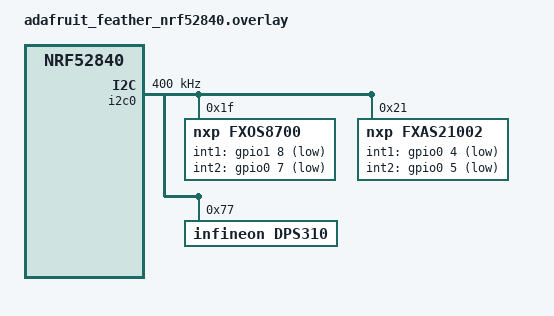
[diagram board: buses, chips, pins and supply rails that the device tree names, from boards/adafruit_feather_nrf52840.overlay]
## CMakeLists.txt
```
cmake_minimum_required(VERSION 3.10)

set(CONF_FILE prj.conf)
find_package(Zephyr REQUIRED HINTS $ENV{ZEPHYR_BASE})

project(z_quad_rotor)

set(CMAKE_EXPORT_COMPILE_COMMANDS ON)

# Include directories
include_directories(app PRIVATE 
    lib/linalg
)

# Application sources
target_sources(app PRIVATE 
    src/dps310.cpp
    src/fusion.cpp
    src/fxas21002.cpp
    src/fxos8700.cpp
    src/main.cpp
)
```

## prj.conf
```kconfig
# C++ and standard lib support
CONFIG_CPLUSPLUS=y
CONFIG_NEWLIB_LIBC=y
CONFIG_LIB_CPLUSPLUS=y

# FPU support (unshared)
CONFIG_FPU=y

# Reroute UART to USB CDC, configure shell & logger over USB
CONFIG_USB=y
CONFIG_USB_DEVICE_STACK=y
CONFIG_USB_DEVICE_PRODUCT="z_quad_rotor"

CONFIG_USB_UART_CONSOLE=y
CONFIG_UART_SHELL_ON_DEV_NAME="CDC_ACM_0"

CONFIG_SHELL=y
CONFIG_SHELL_PROMPT_UART="zqr> "
CONFIG_LOG=y
CONFIG_LOG_PROCESS_THREAD_SLEEP_MS=10

# Main thread params
CONFIG_MAIN_STACK_SIZE=2048

# ADC for vbatt measurements
CONFIG_ADC=y

# Configure sensors..
CONFIG_I2C=y
CONFIG_SENSOR=y

#   FXOS8700
CONFIG_FXOS8700=y
CONFIG_FXOS8700_MODE_HYBRID=y
CONFIG_FXOS8700_TEMP=n
CONFIG_FXOS8700_TRIGGER_OWN_THREAD=y

#   FXAS21002
CONFIG_FXAS21002=y
CONFIG_FXAS21002_DR=2
CONFIG_FXAS21002_RANGE=3
CONFIG_FXAS21002_TRIGGER_OWN_THREAD=y

#   DPS310
CONFIG_DPS310=y
```

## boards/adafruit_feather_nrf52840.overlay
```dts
&i2c0 {
    status = "okay";
    compatible = "nordic,nrf-twi";
    clock-frequency = <I2C_BITRATE_FAST>;

    fxos8700@1f {
        status = "okay";
        compatible = "nxp,fxos8700";
        reg = <0x1f>;
        label = "FXOS8700";
        int1-gpios = <&gpio1 8 GPIO_ACTIVE_LOW>; // D5
        int2-gpios = <&gpio0 7 GPIO_ACTIVE_LOW>; // D6
    };

    fxas21002@21 {
        status = "okay";
        compatible = "nxp,fxas21002";
        reg = <0x21>;
        label = "FXAS21002";
        int1-gpios = <&gpio0 4 GPIO_ACTIVE_LOW>; // A0
        int2-gpios = <&gpio0 5 GPIO_ACTIVE_LOW>; // A1
    };

    dps310@77 {
        status = "okay";
        compatible = "infineon,dps310";
        reg = <0x77>;
        label = "DPS310";
    };
};
```

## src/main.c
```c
/**
 * @file		main.c
 * @author		Andrew Loebs
 * @brief		Main application
 *
 */

#include <zephyr.h>
#include <usb/usb_device.h>
#include <logging/log.h>
#include <drivers/sensor.h>

LOG_MODULE_REGISTER(main, LOG_LEVEL_DBG);

K_SEM_DEFINE(sem_fxos8700_drdy, 0, 1);

static void fxos8700_trig_handler(const struct device *dev, struct sensor_trigger *trigger)
{
    ARG_UNUSED(trigger);

    if (0 != sensor_sample_fetch(dev)) {
        // error
        LOG_ERR("FXOS8700 sensor_sample_fetch() failed.");
        return; // exit without giving semaphore
    }

    k_sem_give(&sem_fxos8700_drdy);
}

void main(void)
{
    // Enable USB for shell backend
    usb_enable(NULL);

    LOG_INF("z_quad_rotor firmware running..");

    struct sensor_value accel[3];
    struct sensor_value mag[3];

    const struct device *fxos8700 = device_get_binding(DT_LABEL(DT_INST(0, nxp_fxos8700)));
    if (NULL == fxos8700) {
        LOG_ERR("unable to bind FXOS8700 device.");
        return;
    }

    struct sensor_value fxos8700_sample_rate = {
		.val1 = 6,
		.val2 = 250000,
	};

    if (0 != sensor_attr_set(fxos8700, SENSOR_CHAN_ALL, SENSOR_ATTR_SAMPLING_FREQUENCY, &fxos8700_sample_rate)) {
        LOG_ERR("unable to set FXOS8700 sample rate.");
        return;
    }

    struct sensor_trigger fxos8700_trig = {
        .type = SENSOR_TRIG_DATA_READY,
        .chan = SENSOR_CHAN_ACCEL_XYZ,
    };

    if (0 != sensor_trigger_set(fxos8700, &fxos8700_trig, fxos8700_trig_handler)) {
        LOG_ERR("unable to set FXOS8700 trigger.");
    }

    // log samples as they are ready
    for (;;) {
        // wait for trigger
        k_sem_take(&sem_fxos8700_drdy, K_FOREVER);

        sensor_channel_get(fxos8700, SENSOR_CHAN_ACCEL_XYZ, accel);
        sensor_channel_get(fxos8700, SENSOR_CHAN_MAGN_XYZ, mag);

        LOG_INF("AX:%3d.%06d AY:%3d.%06d AZ:%3d.%06d", 
            accel[0].val1, accel[0].val2,
            accel[1].val1, accel[1].val2,
            accel[2].val1, accel[2].val2);

        LOG_INF("MX:%3d.%06d MY:%3d.%06d MZ:%3d.%06d", 
            mag[0].val1, mag[0].val2,
            mag[1].val1, mag[1].val2,
            mag[2].val1, mag[2].val2);
    }
}
```

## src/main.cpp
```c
/**
 * @file	main.cpp
 * @author	Andrew Loebs
 * @brief	Main application
 *
 */

#include <cmath>
#include <cstdlib>

#include <device.h>
#include <drivers/adc.h>   // TODO: Delete -- for testing
#include <hal/nrf_saadc.h> // TODO: Delete -- for testing
#include <logging/log.h>
#include <usb/usb_device.h>
#include <zephyr.h>

#include "altitude.hpp"
#include "dps310.hpp"
#include "fxas21002.hpp"
#include "fxos8700.hpp"
#include "marg_sensor.hpp"
#include "orientation.hpp"
#include "pressure_sensor.hpp"

using namespace z_quad_rotor;

LOG_MODULE_REGISTER(main, LOG_LEVEL_DBG);

// constants
static constexpr size_t DPS310_SAMPLING_STACK_SIZE = 1024;
static constexpr int DPS310_SAMPLING_THREAD_PRIO = 10;

// static objects
static MargSensor marg_sensor;
static PressureSensor pressure_sensor;

static const RotationMatrix remap({1.0f, 0.0f, 0.0f}, // Identity matrix (TODO: create actual remap)
                                  {0.0f, 1.0f, 0.0f}, // -
                                  {0.0f, 0.0f, 1.0f});
static Orientation<MadgwickFusion6> orientation(remap);
static Altitude altitude;

// threads
static k_thread dps310_sampling_thread;
K_THREAD_STACK_DEFINE(dps310_sampling_stack, DPS310_SAMPLING_STACK_SIZE);

// TODO: delete -- for testing
// timer to initiate orientation updates
K_TIMER_DEFINE(orientation_update_timer, NULL, NULL);
static const uint32_t FUSION_UPDATE_RATE = 10; // ms

// TODO: delete -- for testing
static struct sensor_value float_to_sensor_value(float f)
{
    return {(int)f, (int)((f - floorf(f)) * 1000000)};
}

// dps310 sampling thread
void dps310_sampling_thread_func(void *p1, void *p2, void *p3)
{
    ARG_UNUSED(p1);
    ARG_UNUSED(p2);
    ARG_UNUSED(p3);

    for (;;) {
        // sample at max rate (limited by conversion time)
        dps310::read_pressure(&pressure_sensor);
    }
}

static const struct adc_channel_cfg ccfg = {
    .gain = ADC_GAIN_2,
    .reference = ADC_REF_INTERNAL,
    .acquisition_time = ADC_ACQ_TIME_DEFAULT,
    .channel_id = 0,
    .input_positive = NRF_SAADC_INPUT_AIN5,
};
static int16_t raw;
static const struct adc_sequence seq = {
    .channels = BIT(0),
    .buffer = &raw,
    .buffer_size = sizeof(raw),
    .resolution = 14,
    .oversampling = 4,
    .calibrate = true,
};

// main thread
void main(void)
{
    // enable USB for shell backend
    usb_enable(NULL);

    // setup adc
    const struct device *adc = device_get_binding(DT_LABEL(DT_INST(0, nordic_nrf_saadc)));
    if (!adc) {
        LOG_ERR("ADC binding failed.");
    }
    else {
        int temp = adc_channel_setup(adc, &ccfg);
        if (temp) {
            LOG_ERR("ADC channel setup error: %d", temp);
        }
    }

    // setup sensors
    int err = fxos8700::setup(DT_LABEL(DT_INST(0, nxp_fxos8700)), &marg_sensor);
    if (!err) {
        err = fxas21002::setup(DT_LABEL(DT_INST(0, nxp_fxas21002)), &marg_sensor);
    }
    if (!err) {
        err = dps310::setup(DT_LABEL(DT_INST(0, infineon_dps310)));
    }

    // startup threads
    if (!err) {
        k_tid_t dps310_sampling_tid = k_thread_create(
            &dps310_sampling_thread, dps310_sampling_stack,
            K_THREAD_STACK_SIZEOF(dps310_sampling_stack), dps310_sampling_thread_func, NULL, NULL,
            NULL, DPS310_SAMPLING_THREAD_PRIO, 0, K_NO_WAIT);
        err = k_thread_name_set(dps310_sampling_tid, "dps310 sampling");
        if (err) {
            LOG_ERR("Failed to set dps310 sampling thread name.");
        }
    }

    uint32_t count = 0;
    // start timer and perform fusion updates on sync
    k_timer_start(&orientation_update_timer, K_MSEC(FUSION_UPDATE_RATE),
                  K_MSEC(FUSION_UPDATE_RATE));
    for (;;) {
        k_timer_status_sync(&orientation_update_timer);
        // update orientation
        MargData marg_data = marg_sensor.get_marg();
        orientation.update(marg_data, FUSION_UPDATE_RATE);
        // update altitude
        struct sensor_value pressure = pressure_sensor.get_pressure();
        altitude.update(pressure);
        // use count to log values every 1 second
        if (100 == count) {
            // LOG_INF("AX:%3d.%06d AY:%3d.%06d AZ:%3d.%06d", marg_data.accel[0].val1,
            //         abs(marg_data.accel[0].val2), marg_data.accel[1].val1,
            //         abs(marg_data.accel[1].val2), marg_data.accel[2].val1,
            //         abs(marg_data.accel[2].val2));

            // LOG_INF("GX:%3d.%06d GY:%3d.%06d GZ:%3d.%06d", marg_data.gyro[0].val1,
            //         abs(marg_data.gyro[0].val2), marg_data.gyro[1].val1,
            //         abs(marg_data.gyro[1].val2), marg_data.gyro[2].val1,
            //         abs(marg_data.gyro[2].val2));

            // LOG_INF("MX:%3d.%06d MY:%3d.%06d MZ:%3d.%06d", marg_data.magn[0].val1,
            //         abs(marg_data.magn[0].val2), marg_data.magn[1].val1,
            //         abs(marg_data.magn[1].val2), marg_data.magn[2].val1,
            //         abs(marg_data.magn[2].val2));
            // EulerAngle euler_angle = orientation.get_euler_angle() * RAD_TO_DEG;
            // struct sensor_value roll = float_to_sensor_value(euler_angle.x);
            // struct sensor_value pitch = float_to_sensor_value(euler_angle.y);
            // struct sensor_value yaw = float_to_sensor_value(euler_angle.z);
            // LOG_INF("Roll:%3d.%06d Pitch:%3d.%06d Yaw:%3d.%06d", roll.val1, abs(roll.val2),
            //         pitch.val1, abs(pitch.val2), yaw.val1, abs(yaw.val2));

            // float height_f = altitude.get_altitude();
            // struct sensor_value height = float_to_sensor_value(height_f);
            // LOG_INF("Altitude:%3d.%06d", height.val1, height.val2);

            if (adc) {
                err = adc_read(adc, &seq);
                if (err) {
                    LOG_ERR("Error reading ADC: %d", err);
                }
                else {
                    int32_t val = raw;
                    err = adc_raw_to_millivolts(adc_ref_internal(adc), ccfg.gain, seq.resolution,
                                                &val);
                    if (err) {
                        LOG_ERR("Error converting ADC measurement: %d", err);
                    }
                    else {
                        LOG_INF("V Batt: %d", val);
                    }
                }
            }

            count = 0; // reset
        }
        count++;
    }
}
```

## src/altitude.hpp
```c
/**
 * @file		altitude.hpp
 * @author	Andrew Loebs
 * @brief		Header-only altitude calculation module
 *
 */

#ifndef __ALTITUDE_H
#define __ALTITUDE_H

#include <cmath>

#include <drivers/sensor.h>
#include <zephyr.h>

#include "synced_var.hpp"

namespace z_quad_rotor {

/// Stores altitude; updates based on raw pressure inputs
class Altitude {
  public:
    Altitude() : m_altitude(0.0f) {}
    /// Updates altitude based on new raw pressure
    void update(struct sensor_value pressure)
    {
        float new_alt =
            44330.0f * (1.0f - powf(sensor_value_to_double(&pressure) / 101.325f, 0.1902949f));
        WriteLock<float> write_access = m_altitude.get_write_lock();
        // if this is the first update, initialize altitude member
        if (m_init) {
            write_access.set_var(new_alt);
            m_init = false;
        }
        else {
            write_access.set_var((new_alt * SMOOTHING_RATIO) +
                                 ((1 - SMOOTHING_RATIO) * write_access.get_var()));
        }
    }
    /// Returns the current altitude in meters
    /// @note Will block until alt mutex is available (locked by update)
    float get_altitude() { return m_altitude.get_read_lock().get_var(); }

  private:
    bool m_init = true;
    SyncedVar<float> m_altitude;

    constexpr static float SMOOTHING_RATIO = 0.03f;
};

} // namespace z_quad_rotor

#endif // __ALTITUDE_H
```

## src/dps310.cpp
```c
/**
 * @file	dps310.cpp
 * @author	Andrew Loebs
 * @brief	Source file of the dps310 module
 *
 */

#include "dps310.hpp"

#include <device.h>
#include <drivers/sensor.h>
#include <logging/log.h>

using namespace z_quad_rotor;

LOG_MODULE_REGISTER(dps310, LOG_LEVEL_DBG);

// private variables
static const struct device *s_dev;

// public function definitions
int dps310::setup(const char *dev_name)
{
    int err = 0;
    // input validation
    if (dev_name == nullptr) {
        LOG_ERR("DPS310 nullptr error at line: %d.", __LINE__);
        err = EINVAL;
    }
    // get device from name
    if (!err) {
        s_dev = device_get_binding(dev_name);
        if (!s_dev) {
            LOG_ERR("DPS310 binding failed.");
            err = ENXIO;
        }
    }

    return err;
}

int dps310::read_pressure(PressureSensor *output)
{
    int err = 0;
    // input validation
    if (output == nullptr) {
        LOG_ERR("DPS310 nullptr error at line: %d.", __LINE__);
        err = EINVAL;
    }
    // fetch & store data
    if (!err) {
        err = sensor_sample_fetch(s_dev);
        if (!err) {
            WriteLock<struct sensor_value> write_access = output->get_write_lock();
            err = sensor_channel_get(s_dev, SENSOR_CHAN_PRESS, &write_access.get_ref());
        }
    }

    if (err) {
        LOG_ERR("Error reading pressure sensor: %d", err);
    }
    return err;
}
```

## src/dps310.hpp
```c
/**
 * @file	dps310.hpp
 * @author	Andrew Loebs
 * @brief	Header file of the dps310 module
 *
 * Thin wrapper around zephyr's dps310 driver
 *
 *
 */

#ifndef __DPS310_H
#define __DPS310_H

#include "pressure_sensor.hpp"

namespace z_quad_rotor {

namespace dps310 {

/// Initializes the sensor
int setup(const char *dev_name);

/// Reads pressure data and writes to output
/// @note Blocking call -- will yield thread while waiting on conversion & i2c transaction
int read_pressure(PressureSensor *output);

} // namespace dps310

} // namespace z_quad_rotor

#endif // __DPS310_H
```

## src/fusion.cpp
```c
/**
 * @file	fusion.cpp
 * @author	Andrew Loebs
 * @brief	Source file of the fusion module
 *
 *
 */

#include "fusion.hpp"

#include <math.h>
#include <stdlib.h>

#include "linalg.h"

using namespace z_quad_rotor;

// constants
constexpr float BETA = 0.041f;

// private function declarations
static bool try_normalize(linalg::vec<float, 3> &vec3);

// private function definitions
static bool try_normalize(linalg::vec<float, 3> &vec3)
{
    // find magnitude
    float length = linalg::length(vec3);
    // fail on nan
    if (0.0f == length) return false;
    // valid normalization -- perform op and return success
    float norm = 1.0f / length;
    vec3 *= norm;
    return true;
}

// fusion implementations
void MadgwickFusion6::update(MargDataFloat marg_data, Quaternion &quat, uint32_t time_diff_ms) const
{
    // rate of change of quaternion from gyroscope
    Quaternion q_dot(
        quat.w * marg_data.gyro.x + quat.y * marg_data.gyro.z - quat.z * marg_data.gyro.y,
        quat.w * marg_data.gyro.y - quat.x * marg_data.gyro.z + quat.z * marg_data.gyro.x,
        quat.w * marg_data.gyro.z + quat.x * marg_data.gyro.y - quat.y * marg_data.gyro.x,
        -quat.x * marg_data.gyro.x - quat.y * marg_data.gyro.y - quat.z * marg_data.gyro.z);
    q_dot *= 0.5f;

    // normalize accel
    if (!try_normalize(marg_data.accel)) return; // skip iteration if nan occurs

    // pre-compute repeated operands
    float qw_2 = 2.0f * quat.w;
    float qx_2 = 2.0f * quat.x;
    float qy_2 = 2.0f * quat.y;
    float qz_2 = 2.0f * quat.z;
    float qw_4 = 4.0f * quat.w;
    float qx_4 = 4.0f * quat.x;
    float qy_4 = 4.0f * quat.y;
    float qx_8 = 8.0f * quat.x;
    float qy_8 = 8.0f * quat.y;
    float qw_qw = quat.w * quat.w;
    float qx_qx = quat.x * quat.x;
    float qy_qy = quat.y * quat.y;
    float qz_qz = quat.z * quat.z;

    // gradient decent algorithm corrective step
    Quaternion step(
        qx_4 * qz_qz - qz_2 * marg_data.accel.x + 4.0f * qw_qw * quat.x - qw_2 * marg_data.accel.y -
            qx_4 + qx_8 * qx_qx + qx_8 * qy_qy + qx_4 * marg_data.accel.z,
        4.0f * qw_qw * quat.y + qw_2 * marg_data.accel.x + qy_4 * qz_qz - qz_2 * marg_data.accel.y -
            qy_4 + qy_8 * qx_qx + qy_8 * qy_qy + qy_4 * marg_data.accel.z,
        4.0f * qx_qx * quat.z - qx_2 * marg_data.accel.x + 4.0f * qy_qy * quat.z -
            qy_2 * marg_data.accel.y,
        qw_4 * qy_qy + qy_2 * marg_data.accel.x + qw_4 * qx_qx - qx_2 * marg_data.accel.y);
    // normalize
    float norm = 1.0f / linalg::length(step);
    step *= norm;

    // apply feedback step
    q_dot -= BETA * step;
    // integrate rate of change of quaternion to yield quaternion
    quat += q_dot * (time_diff_ms * 0.001f);
    // normalize
    norm = 1.0f / linalg::length(quat);
    quat *= norm;
}

void MadgwickFusion9::update(MargDataFloat marg_data, Quaternion &quat, uint32_t time_diff_ms) const
{
    // rate of change of quaternion from gyroscope
    Quaternion q_dot(
        quat.w * marg_data.gyro.x + quat.y * marg_data.gyro.z - quat.z * marg_data.gyro.y,
        quat.w * marg_data.gyro.y - quat.x * marg_data.gyro.z + quat.z * marg_data.gyro.x,
        quat.w * marg_data.gyro.z + quat.x * marg_data.gyro.y - quat.y * marg_data.gyro.x,
        -quat.x * marg_data.gyro.x - quat.y * marg_data.gyro.y - quat.z * marg_data.gyro.z);
    q_dot *= 0.5f;

    // normalize accel and mag
    if (!try_normalize(marg_data.accel)) return; // skip iteration if nan occurs
    if (!try_normalize(marg_data.magn)) return;  // skip iteration if nan occurs

    // pre-compute repeated operands
    float qw_mx_2 = 2.0f * quat.w * marg_data.magn.x;
    float qw_my_2 = 2.0f * quat.w * marg_data.magn.y;
    float qw_mz_2 = 2.0f * quat.w * marg_data.magn.z;
    float qx_mx_2 = 2.0f * quat.x * marg_data.magn.x;
    float qw_2 = 2.0f * quat.w;
    float qx_2 = 2.0f * quat.x;
    float qy_2 = 2.0f * quat.y;
    float qz_2 = 2.0f * quat.z;
    float qw_qy_2 = 2.0f * quat.w * quat.y;
    float qy_qz_2 = 2.0f * quat.y * quat.z;
    float qw_qw = quat.w * quat.w;
    float qw_qx = quat.w * quat.x;
    float qw_qy = quat.w * quat.y;
    float qw_qz = quat.w * quat.z;
    float qx_qx = quat.x * quat.x;
    float qx_qy = quat.x * quat.y;
    float qx_qz = quat.x * quat.z;
    float qy_qy = quat.y * quat.y;
    float qy_qz = quat.y * quat.z;
    float qz_qz = quat.z * quat.z;

    // reference direction of Earth's magnetic field
    float hx = marg_data.magn.x * qw_qw - qw_my_2 * quat.z + qw_mz_2 * quat.y +
               marg_data.magn.x * qx_qx + qx_2 * marg_data.magn.y * quat.y +
               qx_2 * marg_data.magn.z * quat.z - marg_data.magn.x * qy_qy -
               marg_data.magn.x * qz_qz;
    float hy = qw_mx_2 * quat.z + marg_data.magn.y * qw_qw - qw_mz_2 * quat.x + qx_mx_2 * quat.y -
               marg_data.magn.y * qx_qx + marg_data.magn.y * qy_qy +
               qy_2 * marg_data.magn.z * quat.z - marg_data.magn.y * qz_qz;
    float bx_2 = sqrt(hx * hx + hy * hy);
    float bz_2 = -qw_mx_2 * quat.y + qw_my_2 * quat.x + marg_data.magn.z * qw_qw +
                 qx_mx_2 * quat.z - marg_data.magn.z * qx_qx + qy_2 * marg_data.magn.y * quat.z -
                 marg_data.magn.z * qy_qy + marg_data.magn.z * qz_qz;
    float bx_4 = 2.0f * bx_2;
    float bz_4 = 2.0f * bz_2;

    // gradient decent algorithm corrective step
    float sw =
        -qy_2 * (2.0f * qx_qz - qw_qy_2 - marg_data.accel.x) +
        qx_2 * (2.0f * qw_qx + qy_qz_2 - marg_data.accel.y) -
        bz_2 * quat.y *
            (bx_2 * (0.5f - qy_qy - qz_qz) + bz_2 * (qx_qz - qw_qy) - marg_data.magn.x) +
        (-bx_2 * quat.z + bz_2 * quat.x) *
            (bx_2 * (qx_qy - qw_qz) + bz_2 * (qw_qx + qy_qz) - marg_data.magn.y) +
        bx_2 * quat.y * (bx_2 * (qw_qy + qx_qz) + bz_2 * (0.5f - qx_qx - qy_qy) - marg_data.magn.z);
    float sx = qz_2 * (2.0f * qx_qz - qw_qy_2 - marg_data.accel.x) +
               qw_2 * (2.0f * qw_qx + qy_qz_2 - marg_data.accel.y) -
               4.0f * quat.x * (1 - 2.0f * qx_qx - 2.0f * qy_qy - marg_data.accel.z) +
               bz_2 * quat.z *
                   (bx_2 * (0.5f - qy_qy - qz_qz) + bz_2 * (qx_qz - qw_qy) - marg_data.magn.x) +
               (bx_2 * quat.y + bz_2 * quat.w) *
                   (bx_2 * (qx_qy - qw_qz) + bz_2 * (qw_qx + qy_qz) - marg_data.magn.y) +
               (bx_2 * quat.z - bz_4 * quat.x) *
                   (bx_2 * (qw_qy + qx_qz) + bz_2 * (0.5f - qx_qx - qy_qy) - marg_data.magn.z);
    float sy = -qw_2 * (2.0f * qx_qz - qw_qy_2 - marg_data.accel.x) +
               qz_2 * (2.0f * qw_qx + qy_qz_2 - marg_data.accel.y) -
               4.0f * quat.y * (1 - 2.0f * qx_qx - 2.0f * qy_qy - marg_data.accel.z) +
               (-bx_4 * quat.y - bz_2 * quat.w) *
                   (bx_2 * (0.5f - qy_qy - qz_qz) + bz_2 * (qx_qz - qw_qy) - marg_data.magn.x) +
               (bx_2 * quat.x + bz_2 * quat.z) *
                   (bx_2 * (qx_qy - qw_qz) + bz_2 * (qw_qx + qy_qz) - marg_data.magn.y) +
               (bx_2 * quat.w - bz_4 * quat.y) *
                   (bx_2 * (qw_qy + qx_qz) + bz_2 * (0.5f - qx_qx - qy_qy) - marg_data.magn.z);
    float sz =
        qx_2 * (2.0f * qx_qz - qw_qy_2 - marg_data.accel.x) +
        qy_2 * (2.0f * qw_qx + qy_qz_2 - marg_data.accel.y) +
        (-bx_4 * quat.z + bz_2 * quat.x) *
            (bx_2 * (0.5f - qy_qy - qz_qz) + bz_2 * (qx_qz - qw_qy) - marg_data.magn.x) +
        (-bx_2 * quat.w + bz_2 * quat.y) *
            (bx_2 * (qx_qy - qw_qz) + bz_2 * (qw_qx + qy_qz) - marg_data.magn.y) +
        bx_2 * quat.x * (bx_2 * (qw_qy + qx_qz) + bz_2 * (0.5f - qx_qx - qy_qy) - marg_data.magn.z);
    // normalize
    Quaternion step(sx, sy, sz, sw);
    float norm = 1.0f / linalg::length(step);
    step *= norm;

    // apply feedback step
    q_dot -= BETA * step;
    // integrate rate of change of quaternion to yield quaternion
    quat += q_dot * (time_diff_ms * 0.001f);
    // normalize
    norm = 1.0f / linalg::length(quat);
    quat *= norm;
}
```

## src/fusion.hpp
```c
/**
 * @file	fusion.hpp
 * @author	Andrew Loebs
 * @brief	Header file of the fusion module
 *
 * CRTP polymorphic classes for MARG/IMU sensor fusion algorithms
 *
 *
 */

#ifndef __FUSION_H
#define __FUSION_H

#include <cstdint>

#include "marg_sensor.hpp"
#include "orientation_defs.hpp"

namespace z_quad_rotor {

template <class T>
struct FusionImpl {
    void update(MargDataFloat marg_data, Quaternion &quat, uint32_t time_diff_ms) const
    {
        static_cast<const T *>(this)->update(marg_data, quat, time_diff_ms);
    }
};

struct MadgwickFusion6 : FusionImpl<MadgwickFusion6> {
    void update(MargDataFloat marg_data, Quaternion &quat, uint32_t time_diff_ms) const;
};

struct MadgwickFusion9 : FusionImpl<MadgwickFusion9> {
    void update(MargDataFloat marg_data, Quaternion &quat, uint32_t time_diff_ms) const;
};

} // namespace z_quad_rotor

#endif // __FUSION_H
```

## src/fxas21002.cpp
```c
/**
 * @file	fxas21002.cpp
 * @author	Andrew Loebs
 * @brief	Source file of the fxas21002 module
 *
 */

#include "fxas21002.hpp"

#include <device.h>
#include <drivers/sensor.h>
#include <logging/log.h>

using namespace z_quad_rotor;

LOG_MODULE_REGISTER(fxas21002, LOG_LEVEL_DBG);

// private variables
static MargSensor *s_output_sink;

// private function definitions
static void trig_handler(const struct device *dev, struct sensor_trigger *trigger)
{
    ARG_UNUSED(trigger);

    // fetch data
    int err = sensor_sample_fetch(dev);
    // store
    WriteLock<MargData> write_lock = s_output_sink->get_write_lock();
    if (!err) {
        err = sensor_channel_get(dev, SENSOR_CHAN_GYRO_XYZ, write_lock.get_ref().gyro);
    }

    // log errors
    if (err) {
        LOG_ERR("FXAS21002 trigger handler err: %d.", err);
    }
}

// public function definitions
int fxas21002::setup(const char *dev_name, MargSensor *output_sink)
{
    int err = 0;
    // input validation
    if (dev_name == nullptr || output_sink == nullptr) {
        LOG_ERR("FXAS21002 nullptr error at line: %d.", __LINE__);
        err = EINVAL;
    }
    // get device from name
    const struct device *dev;
    if (!err) {
        dev = device_get_binding(dev_name);
        if (!dev) {
            LOG_ERR("FXAS21002 binding failed.");
            err = ENXIO;
        }
    }
    if (!err) {
        struct sensor_trigger trig = {
            .type = SENSOR_TRIG_DATA_READY,
            .chan = SENSOR_CHAN_GYRO_XYZ,
        };
        err = sensor_trigger_set(dev, &trig, trig_handler);
        if (err) {
            LOG_ERR("Unable to set FXAS21002 trigger; err: %d.", err);
        }
    }

    s_output_sink = output_sink;
    return err;
}
```

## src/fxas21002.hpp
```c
/**
 * @file	fxas21002.hpp
 * @author	Andrew Loebs
 * @brief	Header file of the fxas21002 module
 *
 * Thin wrapper around zephyr's fxas21002 driver
 *
 *
 */

#ifndef __FXAS21002_H
#define __FXAS21002_H

#include "marg_sensor.hpp"

namespace z_quad_rotor {

namespace fxas21002 {

/// Initializes the sensor; samples will be fetched on data ready interrupt and data will be written
/// to output sink.
int setup(const char *dev_name, MargSensor *output_sink);

} // namespace fxas21002

} // namespace z_quad_rotor

#endif // __FXAS21002_H
```

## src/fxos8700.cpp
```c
/**
 * @file	fxos8700.cpp
 * @author	Andrew Loebs
 * @brief	Source file of the fxos8700 module
 *
 */

#include "fxos8700.hpp"

#include <device.h>
#include <drivers/sensor.h>
#include <logging/log.h>

using namespace z_quad_rotor;

LOG_MODULE_REGISTER(fxos8700, LOG_LEVEL_DBG);

// constants
static const struct sensor_value data_rate = {.val1 = 200, .val2 = 0}; // Hz

// private variables
static MargSensor *s_output_sink;

// private function definitions
static void trig_handler(const struct device *dev, struct sensor_trigger *trigger)
{
    ARG_UNUSED(trigger);

    // fetch data
    int err = sensor_sample_fetch(dev);
    // store
    WriteLock<MargData> write_lock = s_output_sink->get_write_lock();
    if (!err) {
        err = sensor_channel_get(dev, SENSOR_CHAN_ACCEL_XYZ, write_lock.get_ref().accel);
    }
    if (!err) {
        err = sensor_channel_get(dev, SENSOR_CHAN_MAGN_XYZ, write_lock.get_ref().magn);
    }

    // log errors
    if (err) {
        LOG_ERR("FXOS8700 trigger handler err: %d.", err);
    }
}

// public function definitions
int fxos8700::setup(const char *dev_name, MargSensor *output_sink)
{
    int err = 0;
    // input validation
    if (dev_name == nullptr || output_sink == nullptr) {
        LOG_ERR("FXOS8700 nullptr error at line: %d.", __LINE__);
        err = EINVAL;
    }
    // get device from name
    const struct device *dev;
    if (!err) {
        dev = device_get_binding(dev_name);
        if (!dev) {
            LOG_ERR("FXOS8700 binding failed.");
            err = ENXIO;
        }
    }
    // setup device
    if (!err) {
        err = sensor_attr_set(dev, SENSOR_CHAN_ALL, SENSOR_ATTR_SAMPLING_FREQUENCY, &data_rate);
        if (err) {
            LOG_ERR("Unable to set FXOS8700 sample rate; err: %d.", err);
        }
    }
    if (!err) {
        struct sensor_trigger trig = {
            .type = SENSOR_TRIG_DATA_READY,
            .chan = SENSOR_CHAN_ACCEL_XYZ,
        };
        err = sensor_trigger_set(dev, &trig, trig_handler);
        if (err) {
            LOG_ERR("Unable to set FXOS8700 trigger; err: %d.", err);
        }
    }

    s_output_sink = output_sink;
    return err;
}
```

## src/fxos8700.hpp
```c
/**
 * @file	fxos8700.hpp
 * @author	Andrew Loebs
 * @brief	Header file of the fxos8700 module
 *
 * Thin wrapper around zephyr's fxos8700 driver
 *
 *
 */

#ifndef __FXOS8700_H
#define __FXOS8700_H

#include "marg_sensor.hpp"

namespace z_quad_rotor {

namespace fxos8700 {

/// Initializes the sensor; samples will be fetched on data ready interrupt and data will be written
/// to output sink.
int setup(const char *dev_name, MargSensor *output_sink);

} // namespace fxos8700

} // namespace z_quad_rotor

#endif // __FXOS8700_H
```

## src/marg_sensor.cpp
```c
/**
 * @file		marg_sensor.cpp
 * @author		Andrew Loebs
 * @brief		Source file of the MARG sensor module
 *
 */

#include "marg_sensor.hpp"

#include <logging/log.h>

namespace z_quad_rotor {

LOG_MODULE_REGISTER(marg_sensor, LOG_LEVEL_DBG);

// constants
static const struct sensor_value fxos8700_dr = {.val1 = 200, .val2 = 0};
// note -- fxas21002 data rate is set in kconfig

// private functions
int MargSensor::setup_fxos8700(const char *dev_name, sensor_trigger_handler_t trig_handler)
{
    int err = 0;
    m_fxos8700 = device_get_binding(dev_name);
    if (!m_fxos8700) {
        LOG_ERR("FXOS8700 binding failed.");
        err = ENXIO;
    }
    if (!err) {
        err = sensor_attr_set(m_fxos8700, SENSOR_CHAN_ALL, SENSOR_ATTR_SAMPLING_FREQUENCY,
                              &fxos8700_dr);
        if (err) {
            LOG_ERR("Unable to set FXOS8700 sample rate; err: %d.", err);
        }
    }
    if (!err) {
        struct sensor_trigger trig = {
            .type = SENSOR_TRIG_DATA_READY,
            .chan = SENSOR_CHAN_ACCEL_XYZ,
        };
        err = sensor_trigger_set(m_fxos8700, &trig, trig_handler);
        if (err) {
            LOG_ERR("Unable to set FXOS8700 trigger; err: %d.", err);
        }
    }

    return err;
}

int MargSensor::setup_fxas21002(const char *dev_name, sensor_trigger_handler_t trig_handler)
{
    int err = 0;
    m_fxas21002 = device_get_binding(dev_name);
    if (!m_fxas21002) {
        LOG_ERR("FXAS21002 binding failed.");
        err = ENXIO;
    }
    if (!err) {
        struct sensor_trigger trig = {
            .type = SENSOR_TRIG_DATA_READY,
            .chan = SENSOR_CHAN_GYRO_XYZ,
        };
        err = sensor_trigger_set(m_fxas21002, &trig, trig_handler);
        if (err) {
            LOG_ERR("Unable to set FXAS21002 trigger; err: %d.", err);
        }
    }

    return err;
}

// public functions
int MargSensor::init(const char *fxos8700_dev_name, const char *fxas21002_dev_name,
                     sensor_trigger_handler_t fxos8700_trig_handler,
                     sensor_trigger_handler_t fxas21002_trig_handler)
{
    int err = setup_fxos8700(fxos8700_dev_name, fxos8700_trig_handler);
    if (!err) {
        err = setup_fxas21002(fxas21002_dev_name, fxas21002_trig_handler);
    }

    return err;
}

void MargSensor::fxos8700_trig_handler(const struct device *dev, struct sensor_trigger *trigger)
{
    ARG_UNUSED(trigger);

    // fetch data
    int err = sensor_sample_fetch(dev);
    // store
    SyncedWriteAccess<MargData> write_access = m_marg_data.write_access();
    if (!err) {
        err = sensor_channel_get(dev, SENSOR_CHAN_ACCEL_XYZ, write_access.get_ref().accel);
    }
    if (!err) {
        err = sensor_channel_get(dev, SENSOR_CHAN_MAGN_XYZ, write_access.get_ref().magn);
    }

    // log errors
    if (err) {
        LOG_ERR("FXOS8700 trigger handler err: %d.", err);
    }
}

void MargSensor::fxas21002_trig_handler(const struct device *dev, struct sensor_trigger *trigger)
{
    ARG_UNUSED(trigger);

    // fetch data
    int err = sensor_sample_fetch(dev);
    // store
    SyncedWriteAccess<MargData> write_access = m_marg_data.write_access();
    if (!err) {
        err = sensor_channel_get(dev, SENSOR_CHAN_GYRO_XYZ, write_access.get_ref().gyro);
    }

    // log errors
    if (err) {
        LOG_ERR("FXAS21002 trigger handler err: %d.", err);
    }
}

MargData MargSensor::get_marg() { return m_marg_data.read_access().get_var(); }

} // namespace z_quad_rotor
```

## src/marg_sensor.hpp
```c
/**
 * @file		marg_sensor.hpp
 * @author	Andrew Loebs
 * @brief		Header-only MARG sensor module
 *
 * Defines MARG data types, sensor class for handling read/write access to MARG data.
 *
 *
 */

#ifndef __MARG_SENSOR_H
#define __MARG_SENSOR_H

#include <drivers/sensor.h>

#include "linalg.h"

#include "synced_var.hpp"

namespace z_quad_rotor {

/// Structure for 9DOF data
struct MargData {
    struct sensor_value accel[3];
    struct sensor_value gyro[3];
    struct sensor_value magn[3];
};

struct MargDataFloat {
    linalg::vec<float, 3> accel;
    linalg::vec<float, 3> gyro;
    linalg::vec<float, 3> magn;
    MargDataFloat(MargData &in)
        : accel(sensor_value_to_double(&in.accel[0]), sensor_value_to_double(&in.accel[1]),
                sensor_value_to_double(&in.accel[2])),
          gyro(sensor_value_to_double(&in.gyro[0]), sensor_value_to_double(&in.gyro[1]),
               sensor_value_to_double(&in.gyro[2])),
          magn(sensor_value_to_double(&in.magn[0]), sensor_value_to_double(&in.magn[1]),
               sensor_value_to_double(&in.magn[2]))
    {
    }
};

/// Manages read/write access to MARG sensor data
class MargSensor {
  public:
    /// Returns the current MARG sensor data.
    /// @note Will block until data lock is available
    MargData get_marg() { return m_marg_data.get_read_lock().get_var(); }
    /// Returns a write lock to the MARG sensor data
    WriteLock<MargData> get_write_lock() { return m_marg_data.get_write_lock(); }

  protected:
    SyncedVar<MargData> m_marg_data;
};

} // namespace z_quad_rotor

#endif // __MARG_SENSOR_H
```
